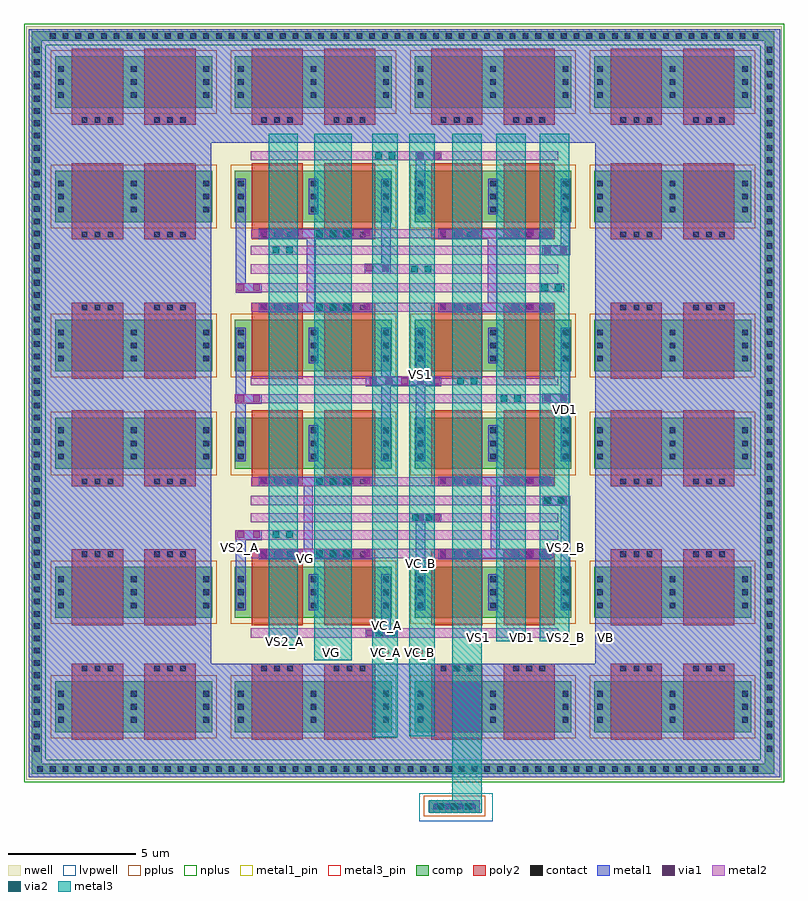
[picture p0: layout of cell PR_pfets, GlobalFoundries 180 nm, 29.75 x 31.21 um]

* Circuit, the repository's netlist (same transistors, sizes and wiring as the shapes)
** sch_path: /home/gmaranhao/Desktop/gf180_work/TIA/PseudoResistor/PR_pfets.sch
.subckt PR_pfets VD1 VS1 VS2_A VS2_B VG VC_A VC_B VB
*.PININFO VD1:B VS1:B VS2_A:B VS2_B:B VG:B VC_A:B VC_B:B VB:B
M1 net3 VG VS1 VB pfet_03v3 L=2u W=2u nf=1 m=1
M2 VD1 VG net3 VB pfet_03v3 L=2u W=2u nf=1 m=1
M5 net4 VG VS1 VB pfet_03v3 L=2u W=2u nf=1 m=1
M6 VD1 VG net4 VB pfet_03v3 L=2u W=2u nf=1 m=1
M7 net5 VG VS1 VB pfet_03v3 L=2u W=2u nf=1 m=1
M9 VD1 VG net5 VB pfet_03v3 L=2u W=2u nf=1 m=1
M10 net6 VG VS1 VB pfet_03v3 L=2u W=2u nf=1 m=1
M11 VD1 VG net6 VB pfet_03v3 L=2u W=2u nf=1 m=1
M12 net1 VG VS2_A VB pfet_03v3 L=2u W=2u nf=1 m=1
M13 VC_A VG net1 VB pfet_03v3 L=2u W=2u nf=1 m=1
M14 net2 VG VS2_A VB pfet_03v3 L=2u W=2u nf=1 m=1
M15 VC_A VG net2 VB pfet_03v3 L=2u W=2u nf=1 m=1
M16 VC_B VG net7 VB pfet_03v3 L=2u W=2u nf=1 m=1
M17 net7 VG VS2_B VB pfet_03v3 L=2u W=2u nf=1 m=1
M18 VC_B VG net8 VB pfet_03v3 L=2u W=2u nf=1 m=1
M19 net8 VG VS2_B VB pfet_03v3 L=2u W=2u nf=1 m=1
M3[1] VB VB VB VB pfet_03v3 L=2u W=2u nf=1 m=1
M3[2] VB VB VB VB pfet_03v3 L=2u W=2u nf=1 m=1
M3[3] VB VB VB VB pfet_03v3 L=2u W=2u nf=1 m=1
M3[4] VB VB VB VB pfet_03v3 L=2u W=2u nf=1 m=1
M3[5] VB VB VB VB pfet_03v3 L=2u W=2u nf=1 m=1
M3[6] VB VB VB VB pfet_03v3 L=2u W=2u nf=1 m=1
M3[7] VB VB VB VB pfet_03v3 L=2u W=2u nf=1 m=1
M3[8] VB VB VB VB pfet_03v3 L=2u W=2u nf=1 m=1
M3[9] VB VB VB VB pfet_03v3 L=2u W=2u nf=1 m=1
M3[10] VB VB VB VB pfet_03v3 L=2u W=2u nf=1 m=1
M3[11] VB VB VB VB pfet_03v3 L=2u W=2u nf=1 m=1
M3[12] VB VB VB VB pfet_03v3 L=2u W=2u nf=1 m=1
M3[13] VB VB VB VB pfet_03v3 L=2u W=2u nf=1 m=1
M3[14] VB VB VB VB pfet_03v3 L=2u W=2u nf=1 m=1
M3[15] VB VB VB VB pfet_03v3 L=2u W=2u nf=1 m=1
M3[16] VB VB VB VB pfet_03v3 L=2u W=2u nf=1 m=1
M3[17] VB VB VB VB pfet_03v3 L=2u W=2u nf=1 m=1
M3[18] VB VB VB VB pfet_03v3 L=2u W=2u nf=1 m=1
M3[19] VB VB VB VB pfet_03v3 L=2u W=2u nf=1 m=1
M3[20] VB VB VB VB pfet_03v3 L=2u W=2u nf=1 m=1
M3[21] VB VB VB VB pfet_03v3 L=2u W=2u nf=1 m=1
M3[22] VB VB VB VB pfet_03v3 L=2u W=2u nf=1 m=1
M3[23] VB VB VB VB pfet_03v3 L=2u W=2u nf=1 m=1
M3[24] VB VB VB VB pfet_03v3 L=2u W=2u nf=1 m=1
M3[25] VB VB VB VB pfet_03v3 L=2u W=2u nf=1 m=1
M3[26] VB VB VB VB pfet_03v3 L=2u W=2u nf=1 m=1
M3[27] VB VB VB VB pfet_03v3 L=2u W=2u nf=1 m=1
M3[28] VB VB VB VB pfet_03v3 L=2u W=2u nf=1 m=1
M3[29] VB VB VB VB pfet_03v3 L=2u W=2u nf=1 m=1
M3[30] VB VB VB VB pfet_03v3 L=2u W=2u nf=1 m=1
M3[31] VB VB VB VB pfet_03v3 L=2u W=2u nf=1 m=1
M3[32] VB VB VB VB pfet_03v3 L=2u W=2u nf=1 m=1
.ends
.end

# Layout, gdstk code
import gdstk
lib = gdstk.Library(unit=1e-6, precision=1e-09)
def R(c, l, rs):  # rectangles x0, y0, x1, y1
    for r in rs: c.add(gdstk.rectangle(r[:2], r[2:], *l))
def A(c, l, x, y, w, h, nx, ny, dx, dy):  # array of equal rectangles
    R(c, l, [(x+i*dx, y+j*dy, x+i*dx+w, y+j*dy+h) for i in range(nx) for j in range(ny)])
nwell = (21, 0)
comp = (22, 0)
poly2 = (30, 0)
pplus = (31, 0)
nplus = (32, 0)
contact = (33, 0)
metal1 = (34, 0)
metal1_pin = (34, 10)
via1 = (35, 0)
metal2 = (36, 0)
via2 = (38, 0)
metal3 = (42, 0)
metal3_pin = (42, 10)
lvpwell = (204, 0)

pfet_1 = lib.new_cell('pfet$1')
R(pfet_1, nwell, [(-0.9,-0.44,3.28,2.44)])
R(pfet_1, comp, [(-0.46,0,0,2), (0,0,2.38,2), (2.38,0,2.84,2)])
R(pfet_1, poly2, [(0.19,-0.3,2.19,2.3), (0.19,2.3,2.19,2.68)])
R(pfet_1, pplus, [(-0.63,-0.24,3.01,2.24)])
A(pfet_1, contact, -0.34, 0.38, 0.22, 0.22, 1, 3, 0, 0.51)
A(pfet_1, contact, 2.5, 0.38, 0.22, 0.22, 1, 3, 0, 0.51)
A(pfet_1, contact, 0.57, 2.38, 0.22, 0.22, 3, 1, 0.51, 0)
R(pfet_1, metal1, [(-0.42,0.3,-0.04,1.7), (2.42,0.3,2.8,1.7), (0.49,2.3,1.89,2.68)])

via_dev_1 = lib.new_cell('via_dev$1')
R(via_dev_1, comp, [(0,0,2,0.5)])
A(via_dev_1, contact, 0.17, 0.14, 0.22, 0.22, 4, 1, 0.48, 0)
R(via_dev_1, metal1, [(0,0,2,0.5)])
A(via_dev_1, via1, 0.34, 0.12, 0.26, 0.26, 3, 1, 0.53, 0)
R(via_dev_1, metal2, [(0,0,2,0.5)])
A(via_dev_1, via2, 0.34, 0.12, 0.26, 0.26, 3, 1, 0.53, 0)
R(via_dev_1, metal3, [(0,0,2,0.5)])

pr_pfets = lib.new_cell('PR_pfets')
R(pr_pfets, nwell, [(-8.635,-6.345,20.935,23.155)])
R(pr_pfets, comp, [(-8.405,-6.1,20.655,-5.72), (20.275,-5.8,20.655,22.96), (-8.405,-5.735,-8.025,22.96), (-8.285,22.58,20.405,22.96)])
R(pr_pfets, pplus, [(6.935,-7.77,9.345,-6.96)])
R(pr_pfets, nplus, [(-8.715,-6.44,21.03,-5.55), (-8.715,-5.645,-7.855,23.25), (20.105,-5.645,21.03,23.25), (-8.455,22.41,20.575,23.25)])
A(pr_pfets, contact, -8.2, -6.02, 0.22, 0.22, 57, 1, 0.5, 0)
A(pr_pfets, contact, -8.325, -5.235, 0.22, 0.22, 1, 58, 0, 0.48)
A(pr_pfets, contact, 20.355, -5.235, 0.22, 0.22, 1, 58, 0, 0.48)
A(pr_pfets, contact, -7.7, 22.66, 0.22, 0.22, 56, 1, 0.5, 0)
R(pr_pfets, metal1, [(-8.52,-6.235,-1.39,23.03), (-1.43,-6.235,20.89,-1.8), (13.64,-6.235,20.89,23.03), (4.655,-0.77,5.88,-0.415), (5.26,-0.75,5.64,1.365), (-0.42,1.685,-0.04,3.425), (6.61,1.685,6.99,3.925), (12.29,1.695,12.67,4.515), (0.47,2.3,2.11,2.695), (2.065,2.3,3.295,2.695), (3.27,2.3,4.91,2.695), (7.49,2.3,9.13,2.695), (9.085,2.3,10.315,2.695), (10.29,2.3,11.93,2.695), (-0.42,3.045,0.59,3.425), (-0.42,3.045,0.59,3.425), (6.61,3.74,7.61,4.095), (11.585,4.38,12.67,4.76), (0.47,5.145,2.11,5.53), (2.065,5.145,3.335,5.53), (3.27,5.145,4.91,5.53), (7.49,5.145,9.13,5.53), (9.085,5.145,10.315,5.53), (10.29,5.145,11.93,5.53), (12.29,6.41,12.67,9.22), (-0.42,7.18,-0.04,8.76), (5.26,7.355,5.64,9.41), (6.61,7.355,6.99,9.41), (-0.42,8.265,-0.04,11.075), (-0.42,8.38,0.59,8.76), (-0.42,8.38,0.59,8.76), (11.575,8.39,12.67,8.77), (12.29,8.415,12.67,11.225), (4.67,9.065,7.625,9.445), (5.26,9.09,5.64,11.145), (6.61,9.09,6.99,11.145), (0.47,11.96,2.11,12.34), (2.065,11.96,3.295,12.34), (3.27,11.96,4.91,12.34), (7.49,11.96,9.13,12.34), (9.085,11.96,10.315,12.34), (10.29,11.96,11.93,12.34), (-0.42,12.72,0.59,13.1), (-0.42,12.72,0.59,13.1), (-0.42,12.925,-0.04,15.945), (4.62,13.475,5.64,13.865), (5.26,13.675,5.64,15.895), (11.575,14.195,12.67,14.575), (12.29,14.37,12.67,16.095), (0.47,14.81,2.11,15.23), (2.065,14.81,3.335,15.23), (3.27,14.81,4.91,15.23), (7.49,14.81,9.13,15.23), (9.085,14.81,10.315,15.23), (10.29,14.81,11.93,15.23), (6.61,15.955,6.99,18.175), (6.61,17.905,7.61,18.26), (-1.43,18.595,20.89,23.03)])
R(pr_pfets, metal1_pin, [(13.95,-0.84,14.125,-0.72)])
R(pr_pfets, via1, [(4.71,-0.725,4.97,-0.465), (4.71,-0.725,4.97,-0.465), (4.71,-0.725,4.97,-0.465), (4.71,-0.725,4.97,-0.465), (4.71,-0.725,4.97,-0.465), (4.71,-0.725,4.97,-0.465), (4.71,-0.725,4.97,-0.465), (4.71,-0.725,4.97,-0.465), (5.33,-0.725,5.59,-0.465), (5.33,-0.725,5.59,-0.465), (5.33,-0.725,5.59,-0.465), (5.33,-0.725,5.59,-0.465), (5.33,-0.725,5.59,-0.465), (5.33,-0.725,5.59,-0.465), (5.33,-0.725,5.59,-0.465), (5.33,-0.725,5.59,-0.465), (0.54,2.395,0.8,2.655), (0.54,2.395,0.8,2.655), (0.54,2.395,0.8,2.655), (0.54,2.395,0.8,2.655), (0.54,2.395,0.8,2.655), (0.54,2.395,0.8,2.655), (0.54,2.395,0.8,2.655), (0.54,2.395,0.8,2.655), (1.16,2.395,1.42,2.655), (1.16,2.395,1.42,2.655), (1.16,2.395,1.42,2.655), (1.16,2.395,1.42,2.655), (1.16,2.395,1.42,2.655), (1.16,2.395,1.42,2.655), (1.16,2.395,1.42,2.655), (1.16,2.395,1.42,2.655), (1.78,2.395,2.04,2.655), (1.78,2.395,2.04,2.655), (1.78,2.395,2.04,2.655), (1.78,2.395,2.04,2.655), (1.78,2.395,2.04,2.655), (1.78,2.395,2.04,2.655), (1.78,2.395,2.04,2.655), (1.78,2.395,2.04,2.655), (3.34,2.395,3.6,2.655), (3.34,2.395,3.6,2.655), (3.34,2.395,3.6,2.655), (3.34,2.395,3.6,2.655), (3.34,2.395,3.6,2.655), (3.34,2.395,3.6,2.655), (3.34,2.395,3.6,2.655), (3.34,2.395,3.6,2.655), (3.96,2.395,4.22,2.655), (3.96,2.395,4.22,2.655), (3.96,2.395,4.22,2.655), (3.96,2.395,4.22,2.655), (3.96,2.395,4.22,2.655), (3.96,2.395,4.22,2.655), (3.96,2.395,4.22,2.655), (3.96,2.395,4.22,2.655), (4.58,2.395,4.84,2.655), (4.58,2.395,4.84,2.655), (4.58,2.395,4.84,2.655), (4.58,2.395,4.84,2.655), (4.58,2.395,4.84,2.655), (4.58,2.395,4.84,2.655), (4.58,2.395,4.84,2.655), (4.58,2.395,4.84,2.655), (7.56,2.395,7.82,2.655), (7.56,2.395,7.82,2.655), (7.56,2.395,7.82,2.655), (7.56,2.395,7.82,2.655), (7.56,2.395,7.82,2.655), (7.56,2.395,7.82,2.655), (7.56,2.395,7.82,2.655), (7.56,2.395,7.82,2.655), (8.18,2.395,8.44,2.655), (8.18,2.395,8.44,2.655), (8.18,2.395,8.44,2.655), (8.18,2.395,8.44,2.655), (8.18,2.395,8.44,2.655), (8.18,2.395,8.44,2.655), (8.18,2.395,8.44,2.655), (8.18,2.395,8.44,2.655), (8.8,2.395,9.06,2.655), (8.8,2.395,9.06,2.655), (8.8,2.395,9.06,2.655), (8.8,2.395,9.06,2.655), (8.8,2.395,9.06,2.655), (8.8,2.395,9.06,2.655), (8.8,2.395,9.06,2.655), (8.8,2.395,9.06,2.655), (10.36,2.395,10.62,2.655), (10.36,2.395,10.62,2.655), (10.36,2.395,10.62,2.655), (10.36,2.395,10.62,2.655), (10.36,2.395,10.62,2.655), (10.36,2.395,10.62,2.655), (10.36,2.395,10.62,2.655), (10.36,2.395,10.62,2.655), (10.98,2.395,11.24,2.655), (10.98,2.395,11.24,2.655), (10.98,2.395,11.24,2.655), (10.98,2.395,11.24,2.655), (10.98,2.395,11.24,2.655), (10.98,2.395,11.24,2.655), (10.98,2.395,11.24,2.655), (10.98,2.395,11.24,2.655), (11.6,2.395,11.86,2.655), (11.6,2.395,11.86,2.655), (11.6,2.395,11.86,2.655), (11.6,2.395,11.86,2.655), (11.6,2.395,11.86,2.655), (11.6,2.395,11.86,2.655), (11.6,2.395,11.86,2.655), (11.6,2.395,11.86,2.655), (-0.36,3.125,-0.1,3.385), (0.26,3.125,0.52,3.385), (6.675,3.795,6.935,4.055), (6.675,3.795,6.935,4.055), (6.675,3.795,6.935,4.055), (6.675,3.795,6.935,4.055), (6.675,3.795,6.935,4.055), (6.675,3.795,6.935,4.055), (6.675,3.795,6.935,4.055), (6.675,3.795,6.935,4.055), (7.295,3.795,7.555,4.055), (7.295,3.795,7.555,4.055), (7.295,3.795,7.555,4.055), (7.295,3.795,7.555,4.055), (7.295,3.795,7.555,4.055), (7.295,3.795,7.555,4.055), (7.295,3.795,7.555,4.055), (7.295,3.795,7.555,4.055), (11.655,4.46,11.915,4.72), (12.275,4.46,12.535,4.72), (0.54,5.225,0.8,5.485), (0.54,5.225,0.8,5.485), (0.54,5.225,0.8,5.485), (0.54,5.225,0.8,5.485), (0.54,5.225,0.8,5.485), (0.54,5.225,0.8,5.485), (0.54,5.225,0.8,5.485), (0.54,5.225,0.8,5.485), (1.16,5.225,1.42,5.485), (1.16,5.225,1.42,5.485), (1.16,5.225,1.42,5.485), (1.16,5.225,1.42,5.485), (1.16,5.225,1.42,5.485), (1.16,5.225,1.42,5.485), (1.16,5.225,1.42,5.485), (1.16,5.225,1.42,5.485), (1.78,5.225,2.04,5.485), (1.78,5.225,2.04,5.485), (1.78,5.225,2.04,5.485), (1.78,5.225,2.04,5.485), (1.78,5.225,2.04,5.485), (1.78,5.225,2.04,5.485), (1.78,5.225,2.04,5.485), (1.78,5.225,2.04,5.485), (3.34,5.225,3.6,5.485), (3.34,5.225,3.6,5.485), (3.34,5.225,3.6,5.485), (3.34,5.225,3.6,5.485), (3.34,5.225,3.6,5.485), (3.34,5.225,3.6,5.485), (3.34,5.225,3.6,5.485), (3.34,5.225,3.6,5.485), (3.96,5.225,4.22,5.485), (3.96,5.225,4.22,5.485), (3.96,5.225,4.22,5.485), (3.96,5.225,4.22,5.485), (3.96,5.225,4.22,5.485), (3.96,5.225,4.22,5.485), (3.96,5.225,4.22,5.485), (3.96,5.225,4.22,5.485), (4.58,5.225,4.84,5.485), (4.58,5.225,4.84,5.485), (4.58,5.225,4.84,5.485), (4.58,5.225,4.84,5.485), (4.58,5.225,4.84,5.485), (4.58,5.225,4.84,5.485), (4.58,5.225,4.84,5.485), (4.58,5.225,4.84,5.485), (7.56,5.225,7.82,5.485), (7.56,5.225,7.82,5.485), (7.56,5.225,7.82,5.485), (7.56,5.225,7.82,5.485), (7.56,5.225,7.82,5.485), (7.56,5.225,7.82,5.485), (7.56,5.225,7.82,5.485), (7.56,5.225,7.82,5.485), (8.18,5.225,8.44,5.485), (8.18,5.225,8.44,5.485), (8.18,5.225,8.44,5.485), (8.18,5.225,8.44,5.485), (8.18,5.225,8.44,5.485), (8.18,5.225,8.44,5.485), (8.18,5.225,8.44,5.485), (8.18,5.225,8.44,5.485), (8.8,5.225,9.06,5.485), (8.8,5.225,9.06,5.485), (8.8,5.225,9.06,5.485), (8.8,5.225,9.06,5.485), (8.8,5.225,9.06,5.485), (8.8,5.225,9.06,5.485), (8.8,5.225,9.06,5.485), (8.8,5.225,9.06,5.485), (10.36,5.225,10.62,5.485), (10.36,5.225,10.62,5.485), (10.36,5.225,10.62,5.485), (10.36,5.225,10.62,5.485), (10.36,5.225,10.62,5.485), (10.36,5.225,10.62,5.485), (10.36,5.225,10.62,5.485), (10.36,5.225,10.62,5.485), (10.98,5.225,11.24,5.485), (10.98,5.225,11.24,5.485), (10.98,5.225,11.24,5.485), (10.98,5.225,11.24,5.485), (10.98,5.225,11.24,5.485), (10.98,5.225,11.24,5.485), (10.98,5.225,11.24,5.485), (10.98,5.225,11.24,5.485), (11.6,5.225,11.86,5.485), (11.6,5.225,11.86,5.485), (11.6,5.225,11.86,5.485), (11.6,5.225,11.86,5.485), (11.6,5.225,11.86,5.485), (11.6,5.225,11.86,5.485), (11.6,5.225,11.86,5.485), (11.6,5.225,11.86,5.485), (-0.36,8.46,-0.1,8.72), (0.26,8.46,0.52,8.72), (11.645,8.47,11.905,8.73), (11.645,8.47,11.905,8.73), (11.645,8.47,11.905,8.73), (11.645,8.47,11.905,8.73), (11.645,8.47,11.905,8.73), (11.645,8.47,11.905,8.73), (11.645,8.47,11.905,8.73), (11.645,8.47,11.905,8.73), (12.265,8.47,12.525,8.73), (12.265,8.47,12.525,8.73), (12.265,8.47,12.525,8.73), (12.265,8.47,12.525,8.73), (12.265,8.47,12.525,8.73), (12.265,8.47,12.525,8.73), (12.265,8.47,12.525,8.73), (12.265,8.47,12.525,8.73), (4.815,9.145,5.075,9.405), (4.815,9.145,5.075,9.405), (4.815,9.145,5.075,9.405), (4.815,9.145,5.075,9.405), (4.815,9.145,5.075,9.405), (4.815,9.145,5.075,9.405), (4.815,9.145,5.075,9.405), (4.815,9.145,5.075,9.405), (5.435,9.145,5.695,9.405), (5.435,9.145,5.695,9.405), (5.435,9.145,5.695,9.405), (5.435,9.145,5.695,9.405), (5.435,9.145,5.695,9.405), (5.435,9.145,5.695,9.405), (5.435,9.145,5.695,9.405), (5.435,9.145,5.695,9.405), (6.055,9.145,6.315,9.405), (6.055,9.145,6.315,9.405), (6.055,9.145,6.315,9.405), (6.055,9.145,6.315,9.405), (6.055,9.145,6.315,9.405), (6.055,9.145,6.315,9.405), (6.055,9.145,6.315,9.405), (6.055,9.145,6.315,9.405), (6.675,9.145,6.935,9.405), (6.675,9.145,6.935,9.405), (6.675,9.145,6.935,9.405), (6.675,9.145,6.935,9.405), (6.675,9.145,6.935,9.405), (6.675,9.145,6.935,9.405), (6.675,9.145,6.935,9.405), (6.675,9.145,6.935,9.405), (7.295,9.145,7.555,9.405), (7.295,9.145,7.555,9.405), (7.295,9.145,7.555,9.405), (7.295,9.145,7.555,9.405), (7.295,9.145,7.555,9.405), (7.295,9.145,7.555,9.405), (7.295,9.145,7.555,9.405), (7.295,9.145,7.555,9.405), (0.54,12.04,0.8,12.3), (0.54,12.04,0.8,12.3), (0.54,12.04,0.8,12.3), (0.54,12.04,0.8,12.3), (0.54,12.04,0.8,12.3), (0.54,12.04,0.8,12.3), (0.54,12.04,0.8,12.3), (0.54,12.04,0.8,12.3), (1.16,12.04,1.42,12.3), (1.16,12.04,1.42,12.3), (1.16,12.04,1.42,12.3), (1.16,12.04,1.42,12.3), (1.16,12.04,1.42,12.3), (1.16,12.04,1.42,12.3), (1.16,12.04,1.42,12.3), (1.16,12.04,1.42,12.3), (1.78,12.04,2.04,12.3), (1.78,12.04,2.04,12.3), (1.78,12.04,2.04,12.3), (1.78,12.04,2.04,12.3), (1.78,12.04,2.04,12.3), (1.78,12.04,2.04,12.3), (1.78,12.04,2.04,12.3), (1.78,12.04,2.04,12.3), (3.34,12.04,3.6,12.3), (3.34,12.04,3.6,12.3), (3.34,12.04,3.6,12.3), (3.34,12.04,3.6,12.3), (3.34,12.04,3.6,12.3), (3.34,12.04,3.6,12.3), (3.34,12.04,3.6,12.3), (3.34,12.04,3.6,12.3), (3.96,12.04,4.22,12.3), (3.96,12.04,4.22,12.3), (3.96,12.04,4.22,12.3), (3.96,12.04,4.22,12.3), (3.96,12.04,4.22,12.3), (3.96,12.04,4.22,12.3), (3.96,12.04,4.22,12.3), (3.96,12.04,4.22,12.3), (4.58,12.04,4.84,12.3), (4.58,12.04,4.84,12.3), (4.58,12.04,4.84,12.3), (4.58,12.04,4.84,12.3), (4.58,12.04,4.84,12.3), (4.58,12.04,4.84,12.3), (4.58,12.04,4.84,12.3), (4.58,12.04,4.84,12.3), (7.56,12.04,7.82,12.3), (7.56,12.04,7.82,12.3), (7.56,12.04,7.82,12.3), (7.56,12.04,7.82,12.3), (7.56,12.04,7.82,12.3), (7.56,12.04,7.82,12.3), (7.56,12.04,7.82,12.3), (7.56,12.04,7.82,12.3), (8.18,12.04,8.44,12.3), (8.18,12.04,8.44,12.3), (8.18,12.04,8.44,12.3), (8.18,12.04,8.44,12.3), (8.18,12.04,8.44,12.3), (8.18,12.04,8.44,12.3), (8.18,12.04,8.44,12.3), (8.18,12.04,8.44,12.3), (8.8,12.04,9.06,12.3), (8.8,12.04,9.06,12.3), (8.8,12.04,9.06,12.3), (8.8,12.04,9.06,12.3), (8.8,12.04,9.06,12.3), (8.8,12.04,9.06,12.3), (8.8,12.04,9.06,12.3), (8.8,12.04,9.06,12.3), (10.36,12.04,10.62,12.3), (10.36,12.04,10.62,12.3), (10.36,12.04,10.62,12.3), (10.36,12.04,10.62,12.3), (10.36,12.04,10.62,12.3), (10.36,12.04,10.62,12.3), (10.36,12.04,10.62,12.3), (10.36,12.04,10.62,12.3), (10.98,12.04,11.24,12.3), (10.98,12.04,11.24,12.3), (10.98,12.04,11.24,12.3), (10.98,12.04,11.24,12.3), (10.98,12.04,11.24,12.3), (10.98,12.04,11.24,12.3), (10.98,12.04,11.24,12.3), (10.98,12.04,11.24,12.3), (11.6,12.04,11.86,12.3), (11.6,12.04,11.86,12.3), (11.6,12.04,11.86,12.3), (11.6,12.04,11.86,12.3), (11.6,12.04,11.86,12.3), (11.6,12.04,11.86,12.3), (11.6,12.04,11.86,12.3), (11.6,12.04,11.86,12.3), (-0.36,12.8,-0.1,13.06), (0.26,12.8,0.52,13.06), (4.685,13.555,4.945,13.815), (4.685,13.555,4.945,13.815), (4.685,13.555,4.945,13.815), (4.685,13.555,4.945,13.815), (4.685,13.555,4.945,13.815), (4.685,13.555,4.945,13.815), (4.685,13.555,4.945,13.815), (4.685,13.555,4.945,13.815), (5.305,13.555,5.565,13.815), (5.305,13.555,5.565,13.815), (5.305,13.555,5.565,13.815), (5.305,13.555,5.565,13.815), (5.305,13.555,5.565,13.815), (5.305,13.555,5.565,13.815), (5.305,13.555,5.565,13.815), (5.305,13.555,5.565,13.815), (11.645,14.275,11.905,14.535), (12.265,14.275,12.525,14.535), (0.54,14.93,0.8,15.19), (0.54,14.93,0.8,15.19), (0.54,14.93,0.8,15.19), (0.54,14.93,0.8,15.19), (0.54,14.93,0.8,15.19), (0.54,14.93,0.8,15.19), (0.54,14.93,0.8,15.19), (0.54,14.93,0.8,15.19), (1.16,14.93,1.42,15.19), (1.16,14.93,1.42,15.19), (1.16,14.93,1.42,15.19), (1.16,14.93,1.42,15.19), (1.16,14.93,1.42,15.19), (1.16,14.93,1.42,15.19), (1.16,14.93,1.42,15.19), (1.16,14.93,1.42,15.19), (1.78,14.93,2.04,15.19), (1.78,14.93,2.04,15.19), (1.78,14.93,2.04,15.19), (1.78,14.93,2.04,15.19), (1.78,14.93,2.04,15.19), (1.78,14.93,2.04,15.19), (1.78,14.93,2.04,15.19), (1.78,14.93,2.04,15.19), (3.34,14.93,3.6,15.19), (3.34,14.93,3.6,15.19), (3.34,14.93,3.6,15.19), (3.34,14.93,3.6,15.19), (3.34,14.93,3.6,15.19), (3.34,14.93,3.6,15.19), (3.34,14.93,3.6,15.19), (3.34,14.93,3.6,15.19), (3.96,14.93,4.22,15.19), (3.96,14.93,4.22,15.19), (3.96,14.93,4.22,15.19), (3.96,14.93,4.22,15.19), (3.96,14.93,4.22,15.19), (3.96,14.93,4.22,15.19), (3.96,14.93,4.22,15.19), (3.96,14.93,4.22,15.19), (4.58,14.93,4.84,15.19), (4.58,14.93,4.84,15.19), (4.58,14.93,4.84,15.19), (4.58,14.93,4.84,15.19), (4.58,14.93,4.84,15.19), (4.58,14.93,4.84,15.19), (4.58,14.93,4.84,15.19), (4.58,14.93,4.84,15.19), (7.56,14.93,7.82,15.19), (7.56,14.93,7.82,15.19), (7.56,14.93,7.82,15.19), (7.56,14.93,7.82,15.19), (7.56,14.93,7.82,15.19), (7.56,14.93,7.82,15.19), (7.56,14.93,7.82,15.19), (7.56,14.93,7.82,15.19), (8.18,14.93,8.44,15.19), (8.18,14.93,8.44,15.19), (8.18,14.93,8.44,15.19), (8.18,14.93,8.44,15.19), (8.18,14.93,8.44,15.19), (8.18,14.93,8.44,15.19), (8.18,14.93,8.44,15.19), (8.18,14.93,8.44,15.19), (8.8,14.93,9.06,15.19), (8.8,14.93,9.06,15.19), (8.8,14.93,9.06,15.19), (8.8,14.93,9.06,15.19), (8.8,14.93,9.06,15.19), (8.8,14.93,9.06,15.19), (8.8,14.93,9.06,15.19), (8.8,14.93,9.06,15.19), (10.36,14.93,10.62,15.19), (10.36,14.93,10.62,15.19), (10.36,14.93,10.62,15.19), (10.36,14.93,10.62,15.19), (10.36,14.93,10.62,15.19), (10.36,14.93,10.62,15.19), (10.36,14.93,10.62,15.19), (10.36,14.93,10.62,15.19), (10.98,14.93,11.24,15.19), (10.98,14.93,11.24,15.19), (10.98,14.93,11.24,15.19), (10.98,14.93,11.24,15.19), (10.98,14.93,11.24,15.19), (10.98,14.93,11.24,15.19), (10.98,14.93,11.24,15.19), (10.98,14.93,11.24,15.19), (11.6,14.93,11.86,15.19), (11.6,14.93,11.86,15.19), (11.6,14.93,11.86,15.19), (11.6,14.93,11.86,15.19), (11.6,14.93,11.86,15.19), (11.6,14.93,11.86,15.19), (11.6,14.93,11.86,15.19), (11.6,14.93,11.86,15.19), (6.68,17.95,6.94,18.21), (6.68,17.95,6.94,18.21), (6.68,17.95,6.94,18.21), (6.68,17.95,6.94,18.21), (6.68,17.95,6.94,18.21), (6.68,17.95,6.94,18.21), (6.68,17.95,6.94,18.21), (6.68,17.95,6.94,18.21), (7.3,17.95,7.56,18.21), (7.3,17.95,7.56,18.21), (7.3,17.95,7.56,18.21), (7.3,17.95,7.56,18.21), (7.3,17.95,7.56,18.21), (7.3,17.95,7.56,18.21), (7.3,17.95,7.56,18.21), (7.3,17.95,7.56,18.21)])
R(pr_pfets, metal2, [(0.15,-0.77,6.73,-0.415), (6.61,-0.77,12.185,-0.415), (0.17,2.34,11.99,2.695), (-0.445,3.065,12.185,3.42), (0.15,3.74,6.73,4.095), (6.61,3.74,12.185,4.095), (0.15,4.415,12.645,4.77), (0.17,5.145,11.99,5.5), (-0.47,8.4,12.645,8.755), (0.15,9.095,12.185,9.45), (0.17,11.985,11.99,12.34), (-0.425,12.74,12.42,13.095), (0.15,13.475,6.64,13.83), (6.61,13.475,12.185,13.83), (0.16,14.215,12.63,14.57), (0.17,14.85,11.99,15.205), (0.15,17.905,6.73,18.26), (6.61,17.905,12.185,18.26)])
R(pr_pfets, via2, [(5.05,-0.72,5.31,-0.46), (5.05,-0.72,5.31,-0.46), (5.58,-0.72,5.84,-0.46), (5.58,-0.72,5.84,-0.46), (2.725,2.38,2.985,2.64), (2.725,2.38,2.985,2.64), (3.255,2.38,3.515,2.64), (3.255,2.38,3.515,2.64), (3.785,2.38,4.045,2.64), (3.785,2.38,4.045,2.64), (1.015,3.125,1.275,3.385), (1.015,3.125,1.275,3.385), (1.545,3.125,1.805,3.385), (1.545,3.125,1.805,3.385), (6.475,3.795,6.735,4.055), (6.475,3.795,6.735,4.055), (7.005,3.795,7.265,4.055), (7.005,3.795,7.265,4.055), (11.645,4.46,11.905,4.72), (11.645,4.46,11.905,4.72), (12.175,4.46,12.435,4.72), (12.175,4.46,12.435,4.72), (2.725,5.2,2.985,5.46), (2.725,5.2,2.985,5.46), (3.255,5.2,3.515,5.46), (3.255,5.2,3.515,5.46), (3.785,5.2,4.045,5.46), (3.785,5.2,4.045,5.46), (9.94,8.45,10.2,8.71), (9.94,8.45,10.2,8.71), (10.47,8.45,10.73,8.71), (10.47,8.45,10.73,8.71), (8.24,9.135,8.5,9.395), (8.24,9.135,8.5,9.395), (8.77,9.135,9.03,9.395), (8.77,9.135,9.03,9.395), (2.725,12.025,2.985,12.285), (2.725,12.025,2.985,12.285), (3.255,12.025,3.515,12.285), (3.255,12.025,3.515,12.285), (3.785,12.025,4.045,12.285), (3.785,12.025,4.045,12.285), (11.535,12.79,11.795,13.05), (11.535,12.79,11.795,13.05), (12.065,12.79,12.325,13.05), (12.065,12.79,12.325,13.05), (6.44,13.52,6.7,13.78), (6.44,13.52,6.7,13.78), (6.97,13.52,7.23,13.78), (6.97,13.52,7.23,13.78), (1.015,14.265,1.275,14.525), (1.015,14.265,1.275,14.525), (1.545,14.265,1.805,14.525), (1.545,14.265,1.805,14.525), (2.725,14.905,2.985,15.165), (2.725,14.905,2.985,15.165), (3.255,14.905,3.515,15.165), (3.255,14.905,3.515,15.165), (3.785,14.905,4.045,15.165), (3.785,14.905,4.045,15.165), (5.025,17.955,5.285,18.215), (5.025,17.955,5.285,18.215), (5.555,17.955,5.815,18.215), (5.555,17.955,5.815,18.215)])
R(pr_pfets, metal3, [(8.05,-7.63,9.2,18.945), (4.92,-4.67,5.92,18.945), (6.36,-4.64,7.36,18.945), (2.64,-1.66,4.12,18.945), (0.855,-1.065,2.005,18.945), (9.765,-0.91,10.915,18.945), (11.475,-0.91,12.625,18.945)])
R(pr_pfets, metal3_pin, [(3.175,-1.4,3.435,-1.275), (5.295,-1.4,5.555,-1.275), (6.64,-1.4,6.9,-1.275), (1.34,-1,1.6,-0.875), (8.89,-0.855,9.15,-0.73), (10.62,-0.855,10.88,-0.73), (12.315,-0.855,12.575,-0.73)])
R(pr_pfets, lvpwell, [(6.76,-7.96,9.63,-6.875)])
pr_pfets.add(gdstk.FlexPath([(2.405,2.605),(2.405,5.365)], 0.36, ends="flush", simple_path=True, layer=34, datatype=0))  # metal1
pr_pfets.add(gdstk.FlexPath([(9.725,5.41),(9.725,2.475)], 0.36, ends="flush", simple_path=True, layer=34, datatype=0))  # metal1
pr_pfets.add(gdstk.FlexPath([(2.53,12.135),(2.53,15.015)], 0.36, ends="flush", simple_path=True, layer=34, datatype=0))  # metal1
pr_pfets.add(gdstk.FlexPath([(9.625,12.155),(9.625,15.09)], 0.36, ends="flush", simple_path=True, layer=34, datatype=0))  # metal1
pr_pfets.add(gdstk.Reference(pfet_1, (0,7.83), x_reflection=True))
pr_pfets.add(gdstk.Reference(pfet_1, (2.84,7.83), x_reflection=True))
pr_pfets.add(gdstk.Reference(pfet_1, (7.03,7.83), x_reflection=True))
pr_pfets.add(gdstk.Reference(pfet_1, (9.87,7.83), x_reflection=True))
pr_pfets.add(gdstk.Reference(pfet_1, (0,0)))
pr_pfets.add(gdstk.Reference(pfet_1, (2.84,0)))
pr_pfets.add(gdstk.Reference(pfet_1, (9.87,0)))
pr_pfets.add(gdstk.Reference(pfet_1, (0,17.49), x_reflection=True))
pr_pfets.add(gdstk.Reference(pfet_1, (2.84,17.49), x_reflection=True))
pr_pfets.add(gdstk.Reference(pfet_1, (7.03,17.49), x_reflection=True))
pr_pfets.add(gdstk.Reference(pfet_1, (9.87,17.49), x_reflection=True))
pr_pfets.add(gdstk.Reference(pfet_1, (0,9.66)))
pr_pfets.add(gdstk.Reference(pfet_1, (2.84,9.66)))
pr_pfets.add(gdstk.Reference(pfet_1, (7.03,9.66)))
pr_pfets.add(gdstk.Reference(pfet_1, (9.87,9.66)))
pr_pfets.add(gdstk.Reference(pfet_1, (7.03,0)))
pr_pfets.add(gdstk.Reference(pfet_1, (0,7.83), x_reflection=True))
pr_pfets.add(gdstk.Reference(pfet_1, (2.84,7.83), x_reflection=True))
pr_pfets.add(gdstk.Reference(pfet_1, (0,0)))
pr_pfets.add(gdstk.Reference(pfet_1, (0,17.49), x_reflection=True))
pr_pfets.add(gdstk.Reference(pfet_1, (2.84,17.49), x_reflection=True))
pr_pfets.add(gdstk.Reference(pfet_1, (0,9.66)))
pr_pfets.add(gdstk.Reference(pfet_1, (2.84,9.66)))
pr_pfets.add(gdstk.Reference(pfet_1, (0,-4.48)))
pr_pfets.add(gdstk.Reference(pfet_1, (2.84,-4.48)))
pr_pfets.add(gdstk.Reference(pfet_1, (9.87,-4.48)))
pr_pfets.add(gdstk.Reference(pfet_1, (7.03,-4.48)))
pr_pfets.add(gdstk.Reference(pfet_1, (0,-4.48)))
pr_pfets.add(gdstk.Reference(pfet_1, (2.84,-4.48)))
pr_pfets.add(gdstk.Reference(pfet_1, (0,21.97), x_reflection=True))
pr_pfets.add(gdstk.Reference(pfet_1, (2.84,21.97), x_reflection=True))
pr_pfets.add(gdstk.Reference(pfet_1, (7.03,21.97), x_reflection=True))
pr_pfets.add(gdstk.Reference(pfet_1, (9.87,21.97), x_reflection=True))
pr_pfets.add(gdstk.Reference(pfet_1, (0,21.97), x_reflection=True))
pr_pfets.add(gdstk.Reference(pfet_1, (2.84,21.97), x_reflection=True))
pr_pfets.add(gdstk.Reference(pfet_1, (-7.03,7.83), x_reflection=True))
pr_pfets.add(gdstk.Reference(pfet_1, (-4.19,7.83), x_reflection=True))
pr_pfets.add(gdstk.Reference(pfet_1, (-7.03,0)))
pr_pfets.add(gdstk.Reference(pfet_1, (-4.19,0)))
pr_pfets.add(gdstk.Reference(pfet_1, (-7.03,17.49), x_reflection=True))
pr_pfets.add(gdstk.Reference(pfet_1, (-4.19,17.49), x_reflection=True))
pr_pfets.add(gdstk.Reference(pfet_1, (-7.03,9.66)))
pr_pfets.add(gdstk.Reference(pfet_1, (-4.19,9.66)))
pr_pfets.add(gdstk.Reference(pfet_1, (-7.03,7.83), x_reflection=True))
pr_pfets.add(gdstk.Reference(pfet_1, (-4.19,7.83), x_reflection=True))
pr_pfets.add(gdstk.Reference(pfet_1, (-7.03,0)))
pr_pfets.add(gdstk.Reference(pfet_1, (-4.19,0)))
pr_pfets.add(gdstk.Reference(pfet_1, (-7.03,17.49), x_reflection=True))
pr_pfets.add(gdstk.Reference(pfet_1, (-4.19,17.49), x_reflection=True))
pr_pfets.add(gdstk.Reference(pfet_1, (-7.03,9.66)))
pr_pfets.add(gdstk.Reference(pfet_1, (-4.19,9.66)))
pr_pfets.add(gdstk.Reference(pfet_1, (-7.03,-4.48)))
pr_pfets.add(gdstk.Reference(pfet_1, (-4.19,-4.48)))
pr_pfets.add(gdstk.Reference(pfet_1, (-7.03,-4.48)))
pr_pfets.add(gdstk.Reference(pfet_1, (-4.19,-4.48)))
pr_pfets.add(gdstk.Reference(pfet_1, (-7.03,21.97), x_reflection=True))
pr_pfets.add(gdstk.Reference(pfet_1, (-4.19,21.97), x_reflection=True))
pr_pfets.add(gdstk.Reference(pfet_1, (-7.03,21.97), x_reflection=True))
pr_pfets.add(gdstk.Reference(pfet_1, (-4.19,21.97), x_reflection=True))
pr_pfets.add(gdstk.Reference(pfet_1, (14.06,7.83), x_reflection=True))
pr_pfets.add(gdstk.Reference(pfet_1, (16.9,7.83), x_reflection=True))
pr_pfets.add(gdstk.Reference(pfet_1, (16.9,0)))
pr_pfets.add(gdstk.Reference(pfet_1, (14.06,17.49), x_reflection=True))
pr_pfets.add(gdstk.Reference(pfet_1, (16.9,17.49), x_reflection=True))
pr_pfets.add(gdstk.Reference(pfet_1, (14.06,9.66)))
pr_pfets.add(gdstk.Reference(pfet_1, (16.9,9.66)))
pr_pfets.add(gdstk.Reference(pfet_1, (14.06,0)))
pr_pfets.add(gdstk.Reference(pfet_1, (16.9,-4.48)))
pr_pfets.add(gdstk.Reference(pfet_1, (14.06,-4.48)))
pr_pfets.add(gdstk.Reference(pfet_1, (14.06,21.97), x_reflection=True))
pr_pfets.add(gdstk.Reference(pfet_1, (16.9,21.97), x_reflection=True))
pr_pfets.add(gdstk.Reference(via_dev_1, (7.13,-7.63)))
pr_pfets.add(gdstk.Label('VS2_A', (-0.285,2.75), layer=34, texttype=10))
pr_pfets.add(gdstk.Label('VG', (2.29,2.31), layer=34, texttype=10))
pr_pfets.add(gdstk.Label('VS2_B', (12.485,2.75), layer=34, texttype=10))
pr_pfets.add(gdstk.Label('VC_A', (5.47,-0.305), layer=34, texttype=10))
pr_pfets.add(gdstk.Label('VC_B', (6.815,2.135), layer=34, texttype=10))
pr_pfets.add(gdstk.Label('VS1', (6.79,9.52), layer=34, texttype=10))
pr_pfets.add(gdstk.Label('VD1', (12.48,8.135), layer=34, texttype=10))
pr_pfets.add(gdstk.Label('VB', (14.045,-0.775), layer=34, texttype=10))
pr_pfets.add(gdstk.Label('VS2_A', (1.475,-0.94), layer=42, texttype=10))
pr_pfets.add(gdstk.Label('VG', (3.31,-1.345), layer=42, texttype=10))
pr_pfets.add(gdstk.Label('VS2_B', (12.485,-0.775), layer=42, texttype=10))
pr_pfets.add(gdstk.Label('VC_A', (5.43,-1.345), layer=42, texttype=10))
pr_pfets.add(gdstk.Label('VC_B', (6.775,-1.345), layer=42, texttype=10))
pr_pfets.add(gdstk.Label('VD1', (10.79,-0.775), layer=42, texttype=10))
pr_pfets.add(gdstk.Label('VS1', (9.06,-0.775), layer=42, texttype=10))
pr_pfets.add(gdstk.Label('VD1', (10.79,-0.775), layer=42, texttype=10))
pr_pfets.add(gdstk.Label('VS1', (9.06,-0.775), layer=42, texttype=10))

lib.write_gds('PR_pfets.gds')
